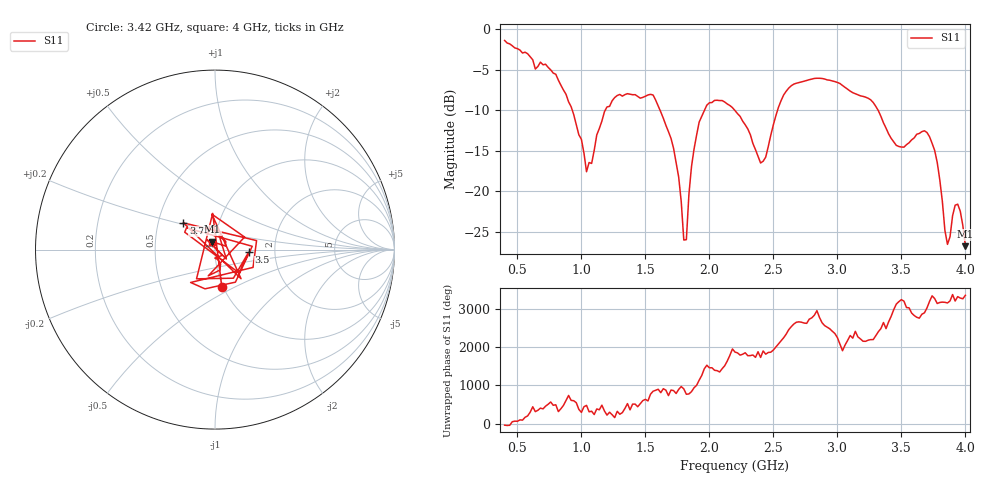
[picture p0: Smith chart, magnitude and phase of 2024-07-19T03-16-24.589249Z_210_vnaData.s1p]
!Created with skrf (http://scikit-rf.org).
# Hz S RI R 50.0
!freq ReS11 ImS11
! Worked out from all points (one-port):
!   181 points, 400 MHz to 4 GHz, reference 50 ohm
!   lowest |S11| = -26.8 dB at 4 GHz (marker M1), VSWR 1.10, Z = 48.4 + j4.21 ohm
!   |S11| at or under -10 dB: 1.615 GHz to 1.961 GHz (345.7 MHz wide, 19.3 % of centre); 2.199 GHz to 2.532 GHz (332.7 MHz wide, 14.1 % of centre); 3.319 GHz to end of sweep (the widest 3 of 4)
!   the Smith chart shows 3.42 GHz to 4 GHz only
!   S11 on the Smith chart (normalised r, x): 3.42 GHz: 0.99, -0.43; 3.5 GHz: 1.46, -0.04; 3.7 GHz: 0.67, +0.21; 4 GHz: 0.97, +0.08
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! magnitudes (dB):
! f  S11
! 400 MHz  -1.4
! 860 MHz  -7.5
! 1 GHz  -13.6
! 1.04 GHz  -17.6
! 1.18 GHz  -10.2
! 1.3 GHz  -8.0
! 1.56 GHz  -8.1
! 1.7 GHz  -13.4
! 1.76 GHz  -18.2
! 1.8 GHz  -26.0
! 1.82 GHz  -26.0
! 1.86 GHz  -16.9
! 1.92 GHz  -11.4
! 2.04 GHz  -8.8
! 2.2 GHz  -10.0
! 2.4 GHz  -16.5
! 2.56 GHz  -8.8
! 2.66 GHz  -6.7
! 3.1 GHz  -7.6
! 3.28 GHz  -9.0
! 3.42 GHz  -13.4
! 3.5 GHz  -14.5
! 3.56 GHz  -14.0
! 3.7 GHz  -12.7
! 3.78 GHz  -16.4
! 3.86 GHz  -26.5
! 3.94 GHz  -21.6
! 4 GHz  -26.8
